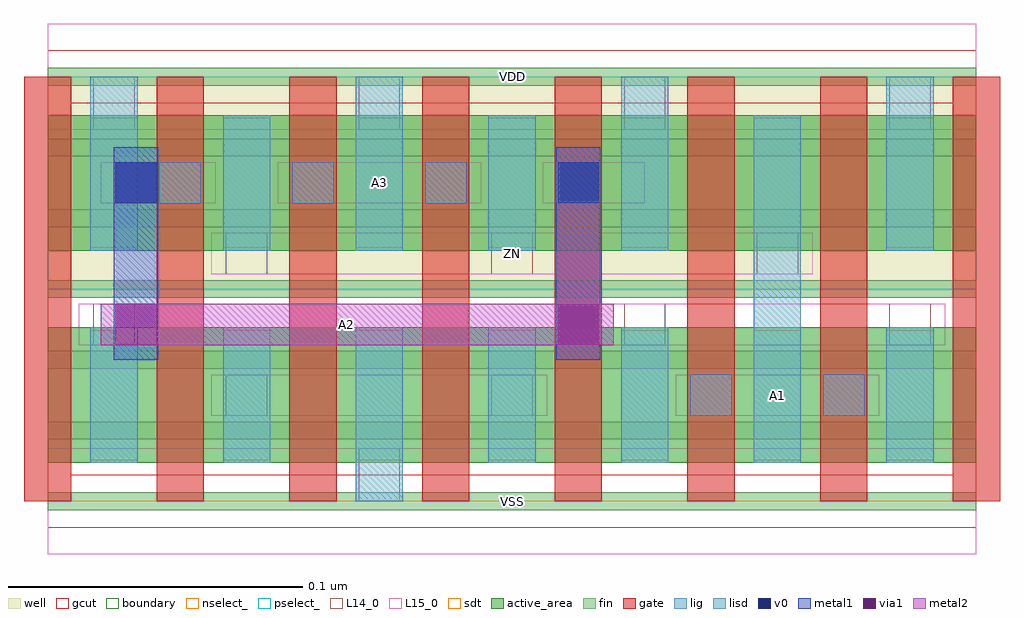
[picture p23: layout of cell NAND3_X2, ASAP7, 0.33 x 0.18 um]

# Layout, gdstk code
import gdstk
lib = gdstk.Library(unit=1e-6, precision=2.5e-10)
def R(c, l, rs):  # rectangles x0, y0, x1, y1
    for r in rs: c.add(gdstk.rectangle(r[:2], r[2:], *l))
def A(c, l, x, y, w, h, nx, ny, dx, dy):  # array of equal rectangles
    R(c, l, [(x+i*dx, y+j*dy, x+i*dx+w, y+j*dy+h) for i in range(nx) for j in range(ny)])
def P(c, l, *ps):  # polygons
    for p in ps: c.add(gdstk.Polygon(p, *l))
well = (1, 0)
fin = (2, 0)
gate = (7, 0)
gcut = (10, 0)
active_area = (11, 0)
nselect_ = (12, 0)
pselect_ = (13, 0)
L14_0 = (14, 0)
L15_0 = (15, 0)
lig = (16, 0)
lisd = (17, 0)
v0 = (18, 0)
metal1 = (19, 0)
metal2 = (20, 0)
via1 = (21, 0)
sdt = (88, 0)
boundary = (100, 0)

nand3_x2 = lib.new_cell('NAND3_X2')
R(nand3_x2, well, [(0,0.072,0.315,0.144)])
A(nand3_x2, fin, 0, -0.003, 0.315, 0.006, 1, 7, 0, 0.024)
A(nand3_x2, gate, -0.008, 0, 0.016, 0.144, 8, 1, 0.045, 0)
P(nand3_x2, gcut, [(0,-0.009),(0,0),(-0.008,0),(-0.008,0.135),(0.008,0.135),(0.008,0.009),(0.307,0.009),(0.307,0.135),(-0.008,0.135),(-0.008,0.144),(0,0.144),(0,0.153),(0.315,0.153),(0.315,0.144),(0.323,0.144),(0.323,0),(0.315,0),(0.315,-0.009)])
R(nand3_x2, active_area, [(0,0.013,0.315,0.059), (0,0.085,0.315,0.131)])
R(nand3_x2, nselect_, [(0,0,0.315,0.072)])
R(nand3_x2, pselect_, [(0,0.072,0.315,0.144)])
A(nand3_x2, L14_0, 0.0605, 0.077, 0.014, 0.014, 3, 1, 0.09, 0)
A(nand3_x2, L14_0, 0.038, 0.101, 0.014, 0.014, 4, 1, 0.045, 0)
A(nand3_x2, L14_0, 0.0155, 0.126, 0.014, 0.018, 4, 1, 0.09, 0)
R(nand3_x2, L14_0, [(0.1055,0,0.1195,0.018), (0.0605,0.029,0.0745,0.043), (0.1505,0.029,0.1645,0.043), (0.218,0.029,0.232,0.043), (0.263,0.029,0.277,0.043), (0.0155,0.053,0.0295,0.067), (0.1955,0.053,0.2095,0.067), (0.2855,0.053,0.2995,0.067)])
R(nand3_x2, L15_0, [(0,-0.018,0.315,0.018), (0.0555,0.029,0.1695,0.043), (0.213,0.029,0.282,0.043), (0.0105,0.053,0.3045,0.067), (0.0555,0.077,0.2595,0.091), (0.018,0.101,0.057,0.115), (0.078,0.101,0.147,0.115), (0.168,0.101,0.2025,0.115), (0,0.126,0.315,0.162)])
A(nand3_x2, lig, 0.038, 0.101, 0.014, 0.014, 4, 1, 0.045, 0)
R(nand3_x2, lig, [(0.218,0.029,0.232,0.043), (0.263,0.029,0.277,0.043)])
A(nand3_x2, lisd, 0.0145, 0.085, 0.016, 0.059, 4, 1, 0.09, 0)
R(nand3_x2, lisd, [(0.1045,0,0.1205,0.059), (0.0145,0.013,0.0305,0.059), (0.0595,0.013,0.0755,0.059), (0.1495,0.013,0.1655,0.059), (0.1945,0.013,0.2105,0.059), (0.2395,0.013,0.2555,0.131), (0.2845,0.013,0.3005,0.059), (0.0595,0.085,0.0755,0.131), (0.1495,0.085,0.1655,0.131)])
R(nand3_x2, v0, [(0.023,0.101,0.037,0.115), (0.173,0.101,0.187,0.115)])
R(nand3_x2, metal1, [(0.0225,0.048,0.0375,0.12), (0.1725,0.048,0.1875,0.12)])
R(nand3_x2, metal2, [(0.018,0.053,0.192,0.067)])
R(nand3_x2, via1, [(0.023,0.053,0.037,0.067), (0.173,0.053,0.187,0.067)])
A(nand3_x2, sdt, 0.0145, 0.014, 0.016, 0.044, 7, 2, 0.045, 0.072)
R(nand3_x2, boundary, [(0,0,0.315,0.144)])
nand3_x2.add(gdstk.Label('A1', (0.2475,0.036), layer=15, texttype=251))
nand3_x2.add(gdstk.Label('VSS', (0.1575,0), layer=15, texttype=251))
nand3_x2.add(gdstk.Label('VDD', (0.1575,0.144), layer=15, texttype=251))
nand3_x2.add(gdstk.Label('ZN', (0.1575,0.084), layer=15, texttype=251))
nand3_x2.add(gdstk.Label('VSS', (0.1575,0), layer=15, texttype=251))
nand3_x2.add(gdstk.Label('VDD', (0.1575,0.144), layer=15, texttype=251))
nand3_x2.add(gdstk.Label('A3', (0.1125,0.108), layer=15, texttype=251))
nand3_x2.add(gdstk.Label('VSS', (0.1575,0), layer=15, texttype=251))
nand3_x2.add(gdstk.Label('VDD', (0.1575,0.144), layer=15, texttype=251))
nand3_x2.add(gdstk.Label('VSS', (0.1575,0), layer=15, texttype=251))
nand3_x2.add(gdstk.Label('VDD', (0.1575,0.144), layer=15, texttype=251))
nand3_x2.add(gdstk.Label('VSS', (0.1575,0), layer=3, texttype=251))
nand3_x2.add(gdstk.Label('VSS', (0.1575,0), layer=3, texttype=251))
nand3_x2.add(gdstk.Label('VSS', (0.1575,0), layer=3, texttype=251))
nand3_x2.add(gdstk.Label('VSS', (0.1575,0), layer=3, texttype=251))
nand3_x2.add(gdstk.Label('VDD', (0.1575,0.144), layer=1, texttype=251))
nand3_x2.add(gdstk.Label('VDD', (0.1575,0.144), layer=1, texttype=251))
nand3_x2.add(gdstk.Label('VDD', (0.1575,0.144), layer=1, texttype=251))
nand3_x2.add(gdstk.Label('VDD', (0.1575,0.144), layer=1, texttype=251))
nand3_x2.add(gdstk.Label('A2', (0.1013,0.06), layer=20, texttype=251))

lib.write_gds('NAND3_X2.gds')
